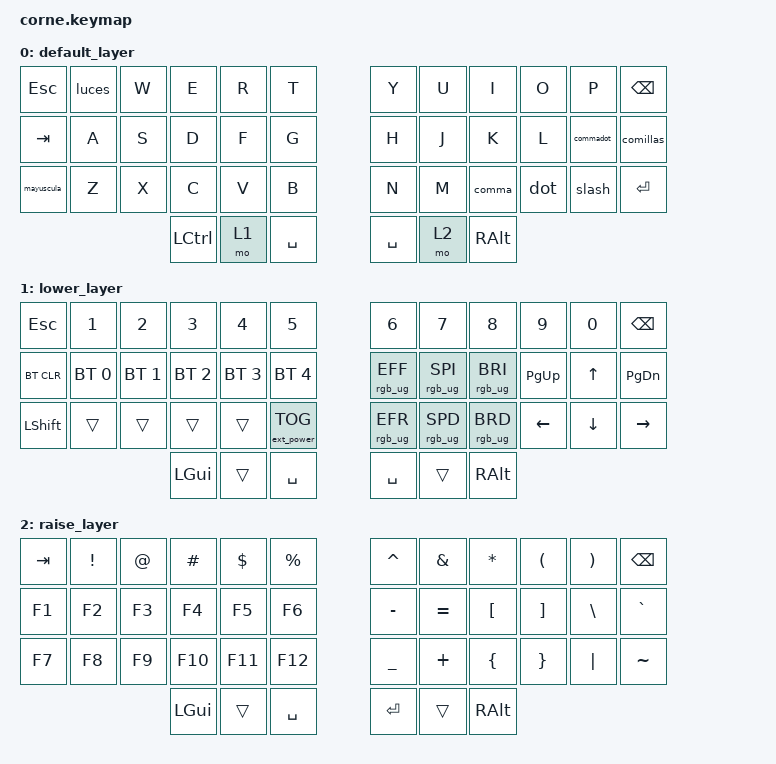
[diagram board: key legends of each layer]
#include <dt-bindings/zmk/rgb.h>

&pinctrl {
    spi3_default: spi3_default {
        group1 {
            psels = <NRF_PSEL(SPIM_MOSI, 0, 20)>;
        };
    };

    spi3_sleep: spi3_sleep {
        group1 {
            psels = <NRF_PSEL(SPIM_MOSI, 0, 20)>;
            low-power-enable;
        };
    };
};

&spi3 {
    pinctrl-0 = <&spi3_default>;
    pinctrl-1 = <&spi3_sleep>;
};

&led_strip {
    chain-length = <27>;
};

#include <behaviors.dtsi>
#include <dt-bindings/zmk/bt.h>
#include <dt-bindings/zmk/ext_power.h>
#include <dt-bindings/zmk/keys.h>
#include <dt-bindings/zmk/rgb.h>

/ {
    behaviors {
        mayuscula: mayuscula {
            compatible = "zmk,behavior-tap-dance";
            label = "MAYUSCULA";
            #binding-cells = <0>;
            bindings = <&kp LEFT_SHIFT>, <&kp CAPSLOCK>;
        };

        comma: comma {
            compatible = "zmk,behavior-tap-dance";
            label = "COMMA";
            #binding-cells = <0>;
            bindings = <&kp COMMA>, <&kp LESS_THAN>;
        };

        dot: dot {
            compatible = "zmk,behavior-tap-dance";
            label = "DOT";
            #binding-cells = <0>;
            bindings = <&kp PERIOD>, <&kp GREATER_THAN>;
        };

        slash: slash {
            compatible = "zmk,behavior-tap-dance";
            label = "SLASH";
            #binding-cells = <0>;
            bindings = <&kp SLASH>, <&kp QUESTION>;
        };

        commadot: commadot {
            compatible = "zmk,behavior-tap-dance";
            label = "COMMADOT";
            #binding-cells = <0>;
            bindings = <&kp SEMICOLON>, <&kp COLON>;
        };

        comillas: comillas {
            compatible = "zmk,behavior-tap-dance";
            label = "COMILLAS";
            #binding-cells = <0>;
            bindings = <&kp SQT>, <&kp DOUBLE_QUOTES>;
        };

        luces: luces {
            compatible = "zmk,behavior-tap-dance";
            label = "LUCES";
            #binding-cells = <0>;
            bindings = <&kp Q>, <&rgb_ug RGB_TOG>;
        };
    };

    keymap {
        compatible = "zmk,keymap";

        default_layer {
            // -----------------------------------------------------------------------------------------
            // |  TAB |  Q  |  W  |  E  |  R  |  T  |   |  Y  |  U   |  I  |  O  |  P  | BKSP |
            // | CTRL |  A  |  S  |  D  |  F  |  G  |   |  H  |  J   |  K  |  L  |  ;  |  '   |
            // | SHFT |  Z  |  X  |  C  |  V  |  B  |   |  N  |  M   |  ,  |  .  |  /  | ESC  |
            //                    | GUI | LWR | SPC |   | ENT | RSE  | ALT |

            bindings = <
&kp ESCAPE  &luces  &kp W  &kp E             &kp R  &kp T        &kp Y      &kp U  &kp I     &kp O  &kp P      &kp BSPC
&kp TAB     &kp A   &kp S  &kp D             &kp F  &kp G        &kp H      &kp J  &kp K     &kp L  &commadot  &comillas
&mayuscula  &kp Z   &kp X  &kp C             &kp V  &kp B        &kp N      &kp M  &comma    &dot   &slash     &kp ENTER
                           &kp LEFT_CONTROL  &mo 1  &kp SPACE    &kp SPACE  &mo 2  &kp RALT
            >;
        };

        lower_layer {
            // -----------------------------------------------------------------------------------------
            // |  TAB |  1  |  2  |  3  |  4  |  5  |   |  6  |  7  |  8  |  9  |  0  | BKSP |
            // | BTCLR| BT1 | BT2 | BT3 | BT4 | BT5 |   | LFT | DWN |  UP | RGT |     |      |
            // | SHFT |     |     |     |     |     |   |     |     |     |     |     |      |
            //                    | GUI |     | SPC |   | ENT |     | ALT |

            bindings = <
&kp ESC     &kp N1        &kp N2        &kp N3        &kp N4        &kp N5               &kp N6           &kp N7           &kp N8           &kp N9          &kp N0          &kp BSPC
&bt BT_CLR  &bt BT_SEL 0  &bt BT_SEL 1  &bt BT_SEL 2  &bt BT_SEL 3  &bt BT_SEL 4         &rgb_ug RGB_EFF  &rgb_ug RGB_SPI  &rgb_ug RGB_BRI  &kp PG_UP       &kp UP_ARROW    &kp PAGE_DOWN
&kp LSHFT   &trans        &trans        &trans        &trans        &ext_power EP_TOG    &rgb_ug RGB_EFR  &rgb_ug RGB_SPD  &rgb_ug RGB_BRD  &kp LEFT_ARROW  &kp DOWN_ARROW  &kp RIGHT_ARROW
                                        &kp LGUI      &trans        &kp SPACE            &kp SPACE        &trans           &kp RALT
            >;
        };

        raise_layer {
            // -----------------------------------------------------------------------------------------
            // |  TAB |  !  |  @  |  #  |  $  |  %  |   |  ^  |  &  |  *  |  (  |  )  | BKSP |
            // | CTRL |     |     |     |     |     |   |  -  |  =  |  [  |  ]  |  \  |  `   |
            // | SHFT |     |     |     |     |     |   |  _  |  +  |  {  |  }  | "|" |  ~   |
            //                    | GUI |     | SPC |   | ENT |     | ALT |

            bindings = <
&kp TAB  &kp EXCL  &kp AT  &kp HASH  &kp DLLR  &kp PRCNT    &kp CARET  &kp AMPS   &kp ASTRK  &kp LPAR  &kp RPAR  &kp BSPC
&kp F1   &kp F2    &kp F3  &kp F4    &kp F5    &kp F6       &kp MINUS  &kp EQUAL  &kp LBKT   &kp RBKT  &kp BSLH  &kp GRAVE
&kp F7   &kp F8    &kp F9  &kp F10   &kp F11   &kp F12      &kp UNDER  &kp PLUS   &kp LBRC   &kp RBRC  &kp PIPE  &kp TILDE
                           &kp LGUI  &trans    &kp SPACE    &kp RET    &trans     &kp RALT
            >;
        };
    };
};
